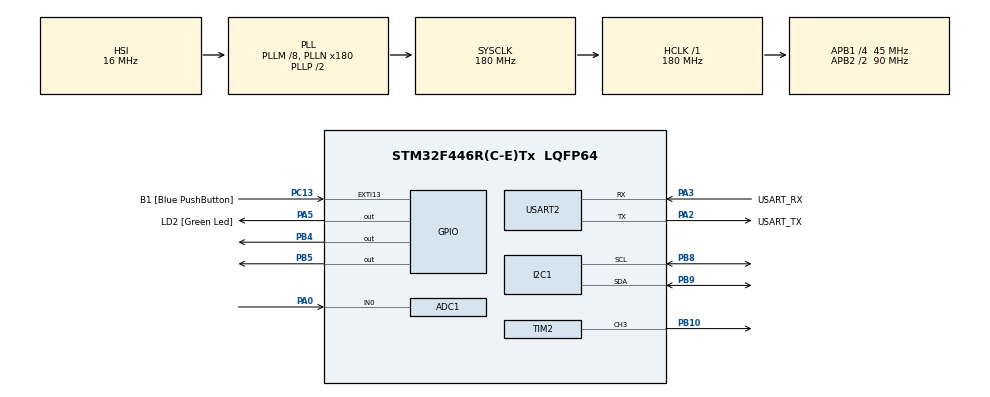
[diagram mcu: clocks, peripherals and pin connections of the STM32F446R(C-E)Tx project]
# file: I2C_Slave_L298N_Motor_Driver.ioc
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ADC1.Channel-0\#ChannelRegularConversion=ADC_CHANNEL_0
ADC1.ContinuousConvMode=DISABLE
ADC1.NbrOfConversionFlag=1
ADC1.Rank-0\#ChannelRegularConversion=1
ADC1.SamplingTime-0\#ChannelRegularConversion=ADC_SAMPLETIME_3CYCLES
ADC1.master=1
Dma.I2C1_RX.0.Direction=DMA_PERIPH_TO_MEMORY
Dma.I2C1_RX.0.FIFOMode=DMA_FIFOMODE_DISABLE
Dma.I2C1_RX.0.Instance=DMA1_Stream0
Dma.I2C1_RX.0.MemDataAlignment=DMA_MDATAALIGN_BYTE
Dma.I2C1_RX.0.MemInc=DMA_MINC_ENABLE
Dma.I2C1_RX.0.Mode=DMA_NORMAL
Dma.I2C1_RX.0.PeriphDataAlignment=DMA_PDATAALIGN_BYTE
Dma.I2C1_RX.0.PeriphInc=DMA_PINC_DISABLE
Dma.I2C1_RX.0.Priority=DMA_PRIORITY_LOW
Dma.Request0=I2C1_RX
I2C1.OwnAddress=0x08
Mcu.Family=STM32F4
Mcu.Name=STM32F446R(C-E)Tx
Mcu.Package=LQFP64
NVIC.DMA1_Stream0_IRQn=true\:0\:0\:false\:false\:true\:false\:true\:true
NVIC.I2C1_ER_IRQn=true\:0\:0\:false\:false\:true\:true\:true\:true
NVIC.I2C1_EV_IRQn=true\:0\:0\:false\:false\:true\:true\:true\:true
NVIC.PriorityGroup=NVIC_PRIORITYGROUP_0
PA0-WKUP.Signal=ADCx_IN0
PA13.GPIO_Label=TMS
PA13.Mode=Serial_Wire
PA13.Signal=SYS_JTMS-SWDIO
PA14.GPIO_Label=TCK
PA14.Mode=Serial_Wire
PA14.Signal=SYS_JTCK-SWCLK
PA2.GPIO_Label=USART_TX
PA2.Mode=Asynchronous
PA2.Signal=USART2_TX
PA3.GPIO_Label=USART_RX
PA3.Mode=Asynchronous
PA3.Signal=USART2_RX
PA5.GPIO_Label=LD2 [Green Led]
PA5.Signal=GPIO_Output
PB10.Signal=S_TIM2_CH3
PB3.GPIO_Label=SWO
PB3.Signal=SYS_JTDO-SWO
PB4.Signal=GPIO_Output
PB5.Signal=GPIO_Output
PB8.Mode=I2C
PB8.Signal=I2C1_SCL
PB9.Mode=I2C
PB9.Signal=I2C1_SDA
PC13.GPIO_Label=B1 [Blue PushButton]
PC13.GPIO_ModeDefaultEXTI=GPIO_MODE_IT_FALLING
PC13.Signal=GPXTI13
PC14-OSC32_IN.Mode=LSE-External-Oscillator
PC14-OSC32_IN.Signal=RCC_OSC32_IN
PC15-OSC32_OUT.Mode=LSE-External-Oscillator
PC15-OSC32_OUT.Signal=RCC_OSC32_OUT
PH0-OSC_IN.Mode=HSE-External-Oscillator
PH0-OSC_IN.Signal=RCC_OSC_IN
PH1-OSC_OUT.Mode=HSE-External-Oscillator
PH1-OSC_OUT.Signal=RCC_OSC_OUT
ProjectManager.HeapSize=0x200
ProjectManager.StackSize=0x400
ProjectManager.TargetToolchain=STM32CubeIDE
RCC.48MHZClocksFreq_Value=84000000
RCC.AHBFreq_Value=180000000
RCC.APB1CLKDivider=RCC_HCLK_DIV4
RCC.APB1Freq_Value=45000000
RCC.APB1TimFreq_Value=90000000
RCC.APB2CLKDivider=RCC_HCLK_DIV2
RCC.APB2Freq_Value=90000000
RCC.APB2TimFreq_Value=180000000
RCC.CortexFreq_Value=180000000
RCC.FLatency-AdvancedSettings=FLASH_LATENCY_5
RCC.HCLKFreq_Value=180000000
RCC.HSE_VALUE=8000000
RCC.HSI_VALUE=16000000
RCC.PLLM=8
RCC.PLLN=180
RCC.SYSCLKFreq_VALUE=180000000
RCC.SYSCLKSource=RCC_SYSCLKSOURCE_PLLCLK
RCC.USBFreq_Value=180000000
RCC.VCOOutputFreq_Value=360000000
SH.ADCx_IN0.0=ADC1_IN0,IN0
SH.S_TIM2_CH3.0=TIM2_CH3,PWM Generation3 CH3
TIM2.Channel-PWM\ Generation3\ CH3=TIM_CHANNEL_3
TIM2.Period=1999
TIM2.Prescaler=89
USART2.VirtualMode=VM_ASYNC
VP_TIM2_VS_ClockSourceINT.Mode=Internal
board=NUCLEO-F446RE

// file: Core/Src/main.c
/* USER CODE BEGIN Header */
/**
  ******************************************************************************
  * @file           : main.c
  * @brief          : Main program body
  ******************************************************************************
  * @attention
  *
  * Copyright (c) 2025 STMicroelectronics.
  * All rights reserved.
  *
  * This software is licensed under terms that can be found in the LICENSE file
  * in the root directory of this software component.
  * If no LICENSE file comes with this software, it is provided AS-IS.
  *
  ******************************************************************************
  */
/* USER CODE END Header */
#include "main.h"

/* USER CODE BEGIN Includes */
#include <string.h>
#include <stdio.h>
#include <stdlib.h>
/* USER CODE END Includes */

/* USER CODE BEGIN PD */
#define MOTOR_PWM_FIXED 1700
#define ANGLE_MS_PER_DEGREE 40
#define ANGLE_MS_PER_DEGREE_2 4

#define MOTOR_DIR_GPIO_Port GPIOB
#define MOTOR_DIR_PIN1 GPIO_PIN_4        // IN1
#define MOTOR_DIR_PIN2 GPIO_PIN_5        // IN2
/* USER CODE END PD */

ADC_HandleTypeDef hadc1;

I2C_HandleTypeDef hi2c1;
DMA_HandleTypeDef hdma_i2c1_rx;

TIM_HandleTypeDef htim2;

UART_HandleTypeDef huart2;

/* USER CODE BEGIN PV */
int8_t received_angle = -30;		// Variable to hold the angle received over I2C
volatile int8_t g_angle_flag = 0;
int16_t readValue;
char buffer[100];
volatile uint8_t do_rotate = 0;
/* USER CODE END PV */

void SystemClock_Config(void);
static void MX_GPIO_Init(void);
static void MX_DMA_Init(void);
static void MX_USART2_UART_Init(void);
static void MX_I2C1_Init(void);
static void MX_TIM2_Init(void);
static void MX_ADC1_Init(void);
/* USER CODE BEGIN PFP */
void Motor_Rotate_To_Angle(int8_t angle);
int8_t Get_Actual_Angle(void);
// Callback to handle I2C data reception
void HAL_I2C_SlaveRxCpltCallback(I2C_HandleTypeDef *hi2c);

/* USER CODE END PFP */

/* USER CODE BEGIN 0 */
char rx_char;
char input_buffer[10];
uint8_t index_t = 0;

/* USER CODE END 0 */

int main(void)
{

  /* MCU Configuration--------------------------------------------------------*/

  /* Reset of all peripherals, Initializes the Flash interface and the Systick. */
  HAL_Init();

  /* Configure the system clock */
  SystemClock_Config();

  /* Initialize all configured peripherals */
  MX_GPIO_Init();
  MX_DMA_Init();
  MX_USART2_UART_Init();
  MX_I2C1_Init();
  MX_TIM2_Init();
  MX_ADC1_Init();
  /* USER CODE BEGIN 2 */
  HAL_TIM_PWM_Start(&htim2, TIM_CHANNEL_3); //PB10 TIM2 CH3

  // Start I2C reception in interrupt mode
  HAL_I2C_Slave_Receive_IT(&hi2c1, (uint8_t*)&received_angle, 1);

      // Notify over UART that system is ready
  HAL_UART_Transmit(&huart2, (uint8_t *)"Waiting for angle...\r\n", 23, 100);
  /* USER CODE END 2 */

  /* Infinite loop */
  /* USER CODE BEGIN WHILE */
  while (1)
  {
	  if (do_rotate)
	  	{
	  		do_rotate = 0;
	  		Motor_Rotate_To_Angle(received_angle);

	  		sprintf(buffer, "Moved motor to angle: %d\r\n", received_angle);
	  		HAL_UART_Transmit(&huart2, (uint8_t *)buffer, strlen(buffer), 100);
	  	}
    /* USER CODE END WHILE */

  }
}

void SystemClock_Config(void)
{
  RCC_OscInitTypeDef RCC_OscInitStruct = {0};
  RCC_ClkInitTypeDef RCC_ClkInitStruct = {0};

  /** Configure the main internal regulator output voltage
  */
  __HAL_RCC_PWR_CLK_ENABLE();
  __HAL_PWR_VOLTAGESCALING_CONFIG(PWR_REGULATOR_VOLTAGE_SCALE1);

  /** Initializes the RCC Oscillators according to the specified parameters
  * in the RCC_OscInitTypeDef structure.
  */
  RCC_OscInitStruct.OscillatorType = RCC_OSCILLATORTYPE_HSI;
  RCC_OscInitStruct.HSIState = RCC_HSI_ON;
  RCC_OscInitStruct.HSICalibrationValue = RCC_HSICALIBRATION_DEFAULT;
  RCC_OscInitStruct.PLL.PLLState = RCC_PLL_ON;
  RCC_OscInitStruct.PLL.PLLSource = RCC_PLLSOURCE_HSI;
  RCC_OscInitStruct.PLL.PLLM = 8;
  RCC_OscInitStruct.PLL.PLLN = 180;
  RCC_OscInitStruct.PLL.PLLP = RCC_PLLP_DIV2;
  RCC_OscInitStruct.PLL.PLLQ = 2;
  RCC_OscInitStruct.PLL.PLLR = 2;
  if (HAL_RCC_OscConfig(&RCC_OscInitStruct) != HAL_OK)
  {
    Error_Handler();
  }

  /** Activate the Over-Drive mode
  */
  if (HAL_PWREx_EnableOverDrive() != HAL_OK)
  {
    Error_Handler();
  }

  /** Initializes the CPU, AHB and APB buses clocks
  */
  RCC_ClkInitStruct.ClockType = RCC_CLOCKTYPE_HCLK|RCC_CLOCKTYPE_SYSCLK
                              |RCC_CLOCKTYPE_PCLK1|RCC_CLOCKTYPE_PCLK2;
  RCC_ClkInitStruct.SYSCLKSource = RCC_SYSCLKSOURCE_PLLCLK;
  RCC_ClkInitStruct.AHBCLKDivider = RCC_SYSCLK_DIV1;
  RCC_ClkInitStruct.APB1CLKDivider = RCC_HCLK_DIV4;
  RCC_ClkInitStruct.APB2CLKDivider = RCC_HCLK_DIV2;

  if (HAL_RCC_ClockConfig(&RCC_ClkInitStruct, FLASH_LATENCY_5) != HAL_OK)
  {
    Error_Handler();
  }
}

static void MX_ADC1_Init(void)
{

  ADC_ChannelConfTypeDef sConfig = {0};

  /** Configure the global features of the ADC (Clock, Resolution, Data Alignment and number of conversion)
  */
  hadc1.Instance = ADC1;
  hadc1.Init.ClockPrescaler = ADC_CLOCK_SYNC_PCLK_DIV4;
  hadc1.Init.Resolution = ADC_RESOLUTION_12B;
  hadc1.Init.ScanConvMode = DISABLE;
  hadc1.Init.ContinuousConvMode = DISABLE;
  hadc1.Init.DiscontinuousConvMode = DISABLE;
  hadc1.Init.ExternalTrigConvEdge = ADC_EXTERNALTRIGCONVEDGE_NONE;
  hadc1.Init.ExternalTrigConv = ADC_SOFTWARE_START;
  hadc1.Init.DataAlign = ADC_DATAALIGN_RIGHT;
  hadc1.Init.NbrOfConversion = 1;
  hadc1.Init.DMAContinuousRequests = DISABLE;
  hadc1.Init.EOCSelection = ADC_EOC_SINGLE_CONV;
  if (HAL_ADC_Init(&hadc1) != HAL_OK)
  {
    Error_Handler();
  }

  /** Configure for the selected ADC regular channel its corresponding rank in the sequencer and its sample time.
  */
  sConfig.Channel = ADC_CHANNEL_0;
  sConfig.Rank = 1;
  sConfig.SamplingTime = ADC_SAMPLETIME_3CYCLES;
  if (HAL_ADC_ConfigChannel(&hadc1, &sConfig) != HAL_OK)
  {
    Error_Handler();
  }

}

static void MX_I2C1_Init(void)
{

  hi2c1.Instance = I2C1;
  hi2c1.Init.ClockSpeed = 100000;
  hi2c1.Init.DutyCycle = I2C_DUTYCYCLE_2;
  hi2c1.Init.OwnAddress1 = 16;
  hi2c1.Init.AddressingMode = I2C_ADDRESSINGMODE_7BIT;
  hi2c1.Init.DualAddressMode = I2C_DUALADDRESS_DISABLE;
  hi2c1.Init.OwnAddress2 = 0;
  hi2c1.Init.GeneralCallMode = I2C_GENERALCALL_DISABLE;
  hi2c1.Init.NoStretchMode = I2C_NOSTRETCH_DISABLE;
  if (HAL_I2C_Init(&hi2c1) != HAL_OK)
  {
    Error_Handler();
  }

}

static void MX_TIM2_Init(void)
{

  TIM_ClockConfigTypeDef sClockSourceConfig = {0};
  TIM_MasterConfigTypeDef sMasterConfig = {0};
  TIM_OC_InitTypeDef sConfigOC = {0};

  htim2.Instance = TIM2;
  htim2.Init.Prescaler = 89;
  htim2.Init.CounterMode = TIM_COUNTERMODE_UP;
  htim2.Init.Period = 1999;
  htim2.Init.ClockDivision = TIM_CLOCKDIVISION_DIV1;
  htim2.Init.AutoReloadPreload = TIM_AUTORELOAD_PRELOAD_DISABLE;
  if (HAL_TIM_Base_Init(&htim2) != HAL_OK)
  {
    Error_Handler();
  }
  sClockSourceConfig.ClockSource = TIM_CLOCKSOURCE_INTERNAL;
  if (HAL_TIM_ConfigClockSource(&htim2, &sClockSourceConfig) != HAL_OK)
  {
    Error_Handler();
  }
  if (HAL_TIM_PWM_Init(&htim2) != HAL_OK)
  {
    Error_Handler();
  }
  sMasterConfig.MasterOutputTrigger = TIM_TRGO_RESET;
  sMasterConfig.MasterSlaveMode = TIM_MASTERSLAVEMODE_DISABLE;
  if (HAL_TIMEx_MasterConfigSynchronization(&htim2, &sMasterConfig) != HAL_OK)
  {
    Error_Handler();
  }
  sConfigOC.OCMode = TIM_OCMODE_PWM1;
  sConfigOC.Pulse = 0;
  sConfigOC.OCPolarity = TIM_OCPOLARITY_HIGH;
  sConfigOC.OCFastMode = TIM_OCFAST_DISABLE;
  if (HAL_TIM_PWM_ConfigChannel(&htim2, &sConfigOC, TIM_CHANNEL_3) != HAL_OK)
  {
    Error_Handler();
  }
  HAL_TIM_MspPostInit(&htim2);

}

static void MX_USART2_UART_Init(void)
{

  huart2.Instance = USART2;
  huart2.Init.BaudRate = 115200;
  huart2.Init.WordLength = UART_WORDLENGTH_8B;
  huart2.Init.StopBits = UART_STOPBITS_1;
  huart2.Init.Parity = UART_PARITY_NONE;
  huart2.Init.Mode = UART_MODE_TX_RX;
  huart2.Init.HwFlowCtl = UART_HWCONTROL_NONE;
  huart2.Init.OverSampling = UART_OVERSAMPLING_16;
  if (HAL_UART_Init(&huart2) != HAL_OK)
  {
    Error_Handler();
  }

}

static void MX_DMA_Init(void)
{

  /* DMA controller clock enable */
  __HAL_RCC_DMA1_CLK_ENABLE();

  /* DMA interrupt init */
  /* DMA1_Stream0_IRQn interrupt configuration */
  HAL_NVIC_SetPriority(DMA1_Stream0_IRQn, 0, 0);
  HAL_NVIC_EnableIRQ(DMA1_Stream0_IRQn);

}

static void MX_GPIO_Init(void)
{
  GPIO_InitTypeDef GPIO_InitStruct = {0};

  /* GPIO Ports Clock Enable */
  __HAL_RCC_GPIOC_CLK_ENABLE();
  __HAL_RCC_GPIOH_CLK_ENABLE();
  __HAL_RCC_GPIOA_CLK_ENABLE();
  __HAL_RCC_GPIOB_CLK_ENABLE();

  /*Configure GPIO pin Output Level */
  HAL_GPIO_WritePin(LD2_GPIO_Port, LD2_Pin, GPIO_PIN_RESET);

  /*Configure GPIO pin Output Level */
  HAL_GPIO_WritePin(GPIOB, GPIO_PIN_4|GPIO_PIN_5, GPIO_PIN_RESET);

  /*Configure GPIO pin : B1_Pin */
  GPIO_InitStruct.Pin = B1_Pin;
  GPIO_InitStruct.Mode = GPIO_MODE_IT_FALLING;
  GPIO_InitStruct.Pull = GPIO_NOPULL;
  HAL_GPIO_Init(B1_GPIO_Port, &GPIO_InitStruct);

  /*Configure GPIO pin : LD2_Pin */
  GPIO_InitStruct.Pin = LD2_Pin;
  GPIO_InitStruct.Mode = GPIO_MODE_OUTPUT_PP;
  GPIO_InitStruct.Pull = GPIO_NOPULL;
  GPIO_InitStruct.Speed = GPIO_SPEED_FREQ_LOW;
  HAL_GPIO_Init(LD2_GPIO_Port, &GPIO_InitStruct);

  /*Configure GPIO pins : PB4 PB5 */
  GPIO_InitStruct.Pin = GPIO_PIN_4|GPIO_PIN_5;
  GPIO_InitStruct.Mode = GPIO_MODE_OUTPUT_PP;
  GPIO_InitStruct.Pull = GPIO_NOPULL;
  GPIO_InitStruct.Speed = GPIO_SPEED_FREQ_LOW;
  HAL_GPIO_Init(GPIOB, &GPIO_InitStruct);

}

/* USER CODE BEGIN 4 */

void Motor_Rotate_To_Angle(int8_t target_angle)
{
    const int8_t ANGLE_LIMIT_MIN = -120;
    const int8_t ANGLE_LIMIT_MAX = 120;

    char debug[50];

    if (target_angle > ANGLE_LIMIT_MAX) target_angle = ANGLE_LIMIT_MAX;
    if (target_angle < ANGLE_LIMIT_MIN) target_angle = ANGLE_LIMIT_MIN;

    sprintf(buffer, "Going to angle: %d\r\n", target_angle);
    HAL_UART_Transmit(&huart2, (uint8_t *)buffer, strlen(buffer), 100);

    int attempt = 0;

    while (1)
    {
        int8_t current_angle = Get_Actual_Angle();

        if (current_angle == -127)
        {
            HAL_UART_Transmit(&huart2, (uint8_t *)"Invalid ADC reading. Skipping movement.\r\n", 44, 100);
            break;
        }

        sprintf(debug, "Actual Angle: %d\r\n", current_angle);
        HAL_UART_Transmit(&huart2, (uint8_t *)debug, strlen(debug), 100);

        int8_t error = target_angle - current_angle;

        if (abs(error) <= 1)
        {
            sprintf(buffer, "Reached: %d\r\n\r\n", current_angle);
            HAL_UART_Transmit(&huart2, (uint8_t *)buffer, strlen(buffer), 100);
            break;
        }

        if (abs(error) > 180)
        {
            HAL_UART_Transmit(&huart2, (uint8_t *)"Movement too large!\r\n\r\n", 27, 100);
            return;
        }

        HAL_GPIO_WritePin(MOTOR_DIR_GPIO_Port, MOTOR_DIR_PIN1, (error < 0) ? GPIO_PIN_SET : GPIO_PIN_RESET);
        HAL_GPIO_WritePin(MOTOR_DIR_GPIO_Port, MOTOR_DIR_PIN2, (error > 0) ? GPIO_PIN_SET : GPIO_PIN_RESET);

        uint16_t speed;
        uint16_t delay_ms;

        if (abs(error) > 20) {
            speed = 2000;
            delay_ms = 25;
        }
        else if (abs(error) > 10) {
            speed = 1500;
            delay_ms = 22;
        }
        else if (abs(error) > 5) {
            speed = 1300;
            delay_ms = 20;
        }
        else {
            speed = 1000;
            delay_ms = 17;
        }

        __HAL_TIM_SET_COMPARE(&htim2, TIM_CHANNEL_3, speed);
        HAL_Delay(delay_ms);

        HAL_GPIO_WritePin(MOTOR_DIR_GPIO_Port, MOTOR_DIR_PIN1, GPIO_PIN_RESET);
        HAL_GPIO_WritePin(MOTOR_DIR_GPIO_Port, MOTOR_DIR_PIN2, GPIO_PIN_RESET);
        __HAL_TIM_SET_COMPARE(&htim2, TIM_CHANNEL_3, 0);
        HAL_Delay(50);

        attempt++;
        if (attempt > 25)
        {

            int8_t final_angle = Get_Actual_Angle();
            int8_t final_error = target_angle - final_angle;

            if (abs(final_error) <= 1)
            {
                sprintf(buffer, "Max attempts, but close enough: %d\r\n", final_angle);
                HAL_UART_Transmit(&huart2, (uint8_t *)buffer, strlen(buffer), 100);
            }
            else
            {
                HAL_UART_Transmit(&huart2, (uint8_t *)"Failed to reach target angle.\r\n", 34, 100);
            }
            break;
        }
    }
}

int8_t Get_Actual_Angle(void)
{
    HAL_UART_Transmit(&huart2, (uint8_t *)"Reading ADC...\r\n", 17, 100);

    const uint16_t pot_zero  = 2077;
    const uint16_t pot_right = 1530;
    const uint16_t pot_left  = 2540;

    int total = 0;
    for (int i = 0; i < 1; i++)
    {
    	HAL_UART_Transmit(&huart2, (uint8_t *)"Start ADC round\r\n", 18, 100);
        HAL_ADC_Start(&hadc1);

        HAL_UART_Transmit(&huart2, (uint8_t *)"Polling...\r\n", 12, 100);
        if (HAL_ADC_PollForConversion(&hadc1, 100) != HAL_OK)
        {
            HAL_UART_Transmit(&huart2, (uint8_t *)"ADC Poll Timeout!\r\n", 23, 100);
            HAL_ADC_Stop(&hadc1);
            return -127;
        }

        char val[30];
        readValue = HAL_ADC_GetValue(&hadc1);
        sprintf(val, "ReadValue: %d\r\n", readValue);
        HAL_UART_Transmit(&huart2, (uint8_t *)val, strlen(val), 100);

        HAL_UART_Transmit(&huart2, (uint8_t *)"Read Done\r\n", 11, 100);

        HAL_ADC_Stop(&hadc1);
        total += readValue;
        HAL_Delay(5);
    }

    int average = total / 1;
    float angle = 0;

    char debug[40];
    sprintf(debug, "Avg ADC = %d\r\n", average);
    HAL_UART_Transmit(&huart2, (uint8_t *)debug, strlen(debug), 100);

    if (average >= pot_zero)
    {
        angle = ((float)(average - pot_zero) / (pot_right - pot_zero)) * 90.0f;
        if (angle > 90.0f) angle = 90.0f;
    }
    else
    {
        angle = ((float)(average - pot_zero) / (pot_zero - pot_left)) * 90.0f;
        if (angle < -90.0f) angle = -90.0f;
    }

    return (int8_t)angle;
}

void HAL_I2C_SlaveRxCpltCallback(I2C_HandleTypeDef *hi2c)
{
	sprintf(buffer, "Callback Entered. Angle = %d\r\n", received_angle);
	HAL_UART_Transmit(&huart2, (uint8_t *)buffer, strlen(buffer), 100);

	do_rotate = 1;
	HAL_I2C_Slave_Receive_IT(&hi2c1, (uint8_t*)&received_angle, 1);
}

/* USER CODE END 4 */

void Error_Handler(void)
{
  __disable_irq();
  while (1)
  {
  }
}
